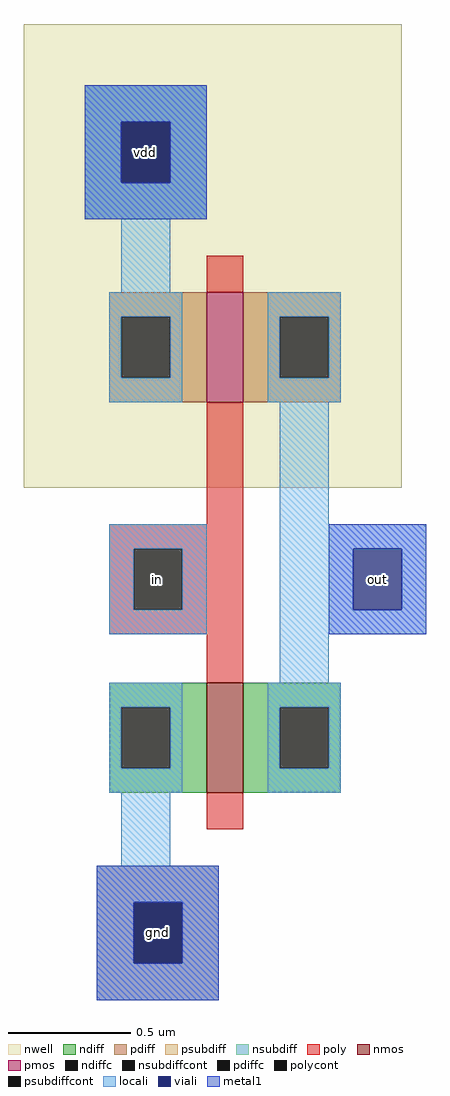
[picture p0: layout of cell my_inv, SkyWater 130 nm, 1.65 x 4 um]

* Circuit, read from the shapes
.subckt my_inv gnd in out vdd
XM1 out in gnd gnd sky130_fd_pr__nfet_01v8 w=0.45 l=0.15
XM2 out in vdd vdd sky130_fd_pr__pfet_01v8 w=0.45 l=0.15
.ends

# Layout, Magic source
magic # INV_1
tech sky130A
<< nwell >>
rect -75 110 80 300
<< nmos >>
rect 0 -15 15 30
<< pmos >>
rect 0 145 15 190
<< ndiff >>
rect -40 20 0 30
rect -40 -5 -35 20
rect -15 -5 0 20
rect -40 -15 0 -5
rect 15 20 55 30
rect 15 -5 30 20
rect 50 -5 55 20
rect 15 -15 55 -5
<< pdiff >>
rect -40 180 0 190
rect -40 155 -35 180
rect -15 155 0 180
rect -40 145 0 155
rect 15 180 55 190
rect 15 155 30 180
rect 50 155 55 180
rect 15 145 55 155
<< ndiffc >>
rect -35 -5 -15 20
rect 30 -5 50 20
<< pdiffc >>
rect -35 155 -15 180
rect 30 155 50 180
<< psubdiff >>
rect -45 -60 5 -45
rect -45 -85 -30 -60
rect -10 -85 5 -60
rect -45 -100 5 -85
<< nsubdiff >>
rect -50 260 0 275
rect -50 235 -35 260
rect -15 235 0 260
rect -50 220 0 235
<< psubdiffcont >>
rect -30 -85 -10 -60
<< nsubdiffcont >>
rect -35 235 -15 260
<< poly >>
rect 0 190 15 205
rect 0 95 15 145
rect -40 85 15 95
rect -40 60 -30 85
rect -10 60 15 85
rect -40 50 15 60
rect 0 30 15 50
rect 0 -30 15 -15
<< polycont >>
rect -30 60 -10 85
<< locali >>
rect -50 260 0 275
rect -50 235 -35 260
rect -15 235 0 260
rect -50 220 0 235
rect -35 190 -15 220
rect -40 180 -10 190
rect -40 155 -35 180
rect -15 155 -10 180
rect -40 145 -10 155
rect 25 180 55 190
rect 25 155 30 180
rect 50 155 55 180
rect 25 145 55 155
rect 30 95 50 145
rect -40 85 0 95
rect -40 60 -30 85
rect -10 60 0 85
rect -40 50 0 60
rect 30 85 90 95
rect 30 60 60 85
rect 80 60 90 85
rect 30 50 90 60
rect 30 30 50 50
rect -40 20 -10 30
rect -40 -5 -35 20
rect -15 -5 -10 20
rect -40 -15 -10 -5
rect 25 20 55 30
rect 25 -5 30 20
rect 50 -5 55 20
rect 25 -15 55 -5
rect -35 -45 -15 -15
rect -45 -60 5 -45
rect -45 -85 -30 -60
rect -10 -85 5 -60
rect -45 -100 5 -85
<< viali >>
rect -35 235 -15 260
rect 60 60 80 85
rect -30 -85 -10 -60
<< metal1 >>
rect -50 260 0 275
rect -50 235 -35 260
rect -15 235 0 260
rect -50 220 0 235
rect 50 85 90 95
rect 50 60 60 85
rect 80 60 90 85
rect 50 50 90 60
rect -45 -60 5 -45
rect -45 -85 -30 -60
rect -10 -85 5 -60
rect -45 -100 5 -85
<< labels >>
rlabel polycont -30 60 -10 85 1 in
rlabel viali 60 60 80 85 1 out
rlabel nwell -35 235 -15 260 1 vdd
rlabel metal1 -30 -85 -10 -60 1 gnd
<< end >>
